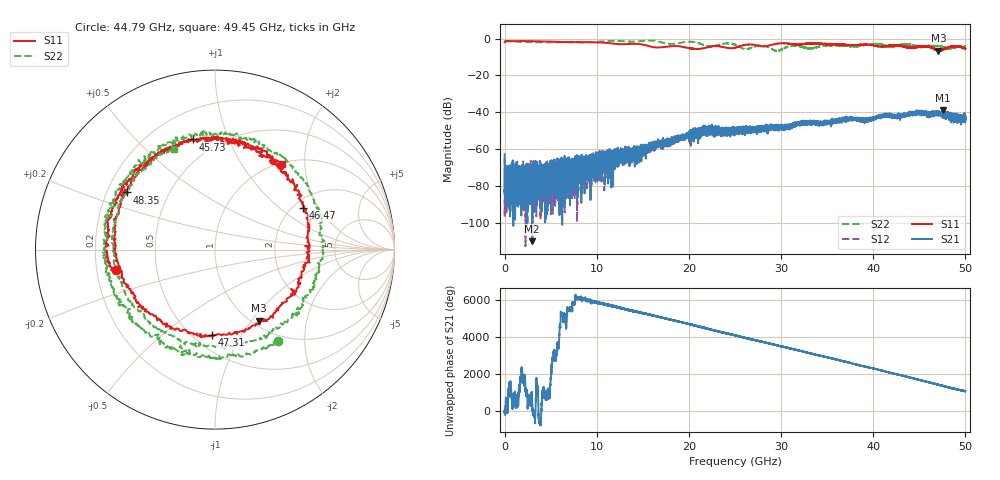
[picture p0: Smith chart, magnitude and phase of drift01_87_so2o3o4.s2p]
!Created with skrf (http://scikit-rf.org).
# Hz S RI R 50.0
!freq ReS11 ImS11 ReS21 ImS21 ReS12 ImS12 ReS22 ImS22
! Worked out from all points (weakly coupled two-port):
!   10001 points, 300 kHz to 50 GHz, reference 50 ohm
!   highest |S21| = -38.74 dB at 47.56 GHz (marker M1); lowest = -109.7 dB at 3 GHz (marker M2)
!   lowest |S11| = -6.6 dB at 47.08 GHz (marker M3), VSWR 2.75, Z = 53.8 - j54.5 ohm
!   |S11| at or under -10 dB: nowhere
!   |S22| runs from -6.8 to -1.0 dB; largest |S21 - S12| = 0.0053
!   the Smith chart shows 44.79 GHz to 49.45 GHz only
!   S11 on the Smith chart (normalised r, x): 44.79 GHz: 0.28, -0.10; 45.73 GHz: 0.37, +0.75; 46.47 GHz: 2.26, +1.49; 47.31 GHz: 0.61, -0.75; 48.35 GHz: 0.28, +0.27; 49.45 GHz: 1.02, +1.53
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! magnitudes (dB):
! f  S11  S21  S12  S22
! 300 kHz  -2.1  -62.7  -64.7  -1.3
! 260.3 MHz  -1.4  -74.2  -77.1  -1.4
! 3 GHz  -1.5  -109.7  -71.8  -2.0
! 5.73 GHz  -1.8  -81.2  -81.6  -2.0
! 8.335 GHz  -1.9  -66.0  -66.0  -2.1
! 16.67 GHz  -4.8  -56.4  -55.9  -1.6
! 21.78 GHz  -5.0  -49.2  -50.1  -3.7
! 25 GHz  -5.0  -48.7  -49.4  -3.4
! 28.08 GHz  -4.3  -48.3  -47.3  -3.8
! 29.55 GHz  -2.8  -48.5  -47.6  -6.7
! 31.29 GHz  -3.1  -46.0  -47.1  -4.0
! 33.34 GHz  -2.6  -45.7  -45.5  -5.3
! 41.67 GHz  -3.9  -41.3  -41.3  -4.5
! 44.79 GHz  -5.0  -40.2  -40.8  -4.2
! 45.73 GHz  -4.1  -41.2  -41.4  -4.2
! 46.47 GHz  -5.3  -39.7  -41.7  -3.7
! 47.08 GHz  -6.6  -40.3  -40.0  -4.1
! 47.31 GHz  -6.4  -40.8  -40.8  -4.1
! 47.56 GHz  -6.0  -38.7  -41.4  -4.5
! 48.35 GHz  -4.6  -41.9  -41.9  -5.3
! 49.45 GHz  -4.4  -43.0  -43.3  -4.4
! 50 GHz  -5.5  -44.4  -43.5  -4.2
